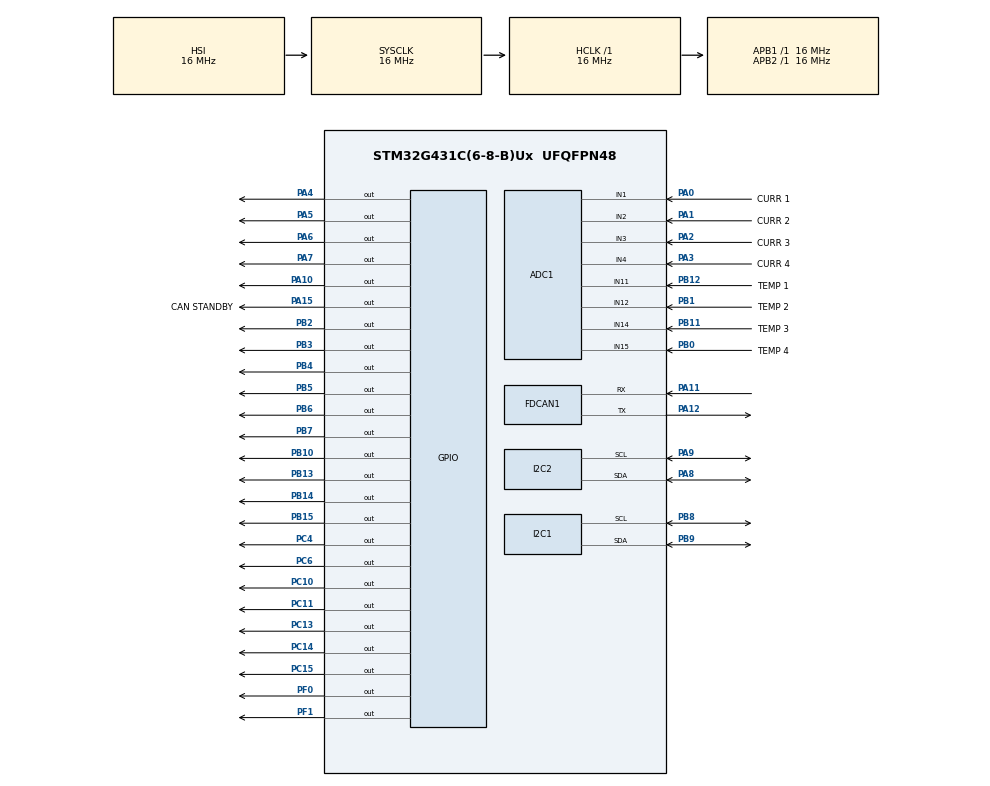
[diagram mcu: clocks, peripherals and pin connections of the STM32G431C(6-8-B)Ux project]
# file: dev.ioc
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ADC1.Channel-0\#ChannelRegularConversion=ADC_CHANNEL_1
ADC1.Channel-10\#ChannelRegularConversion=ADC_CHANNEL_4
ADC1.Channel-11\#ChannelRegularConversion=ADC_CHANNEL_11
ADC1.Channel-12\#ChannelRegularConversion=ADC_CHANNEL_12
ADC1.Channel-13\#ChannelRegularConversion=ADC_CHANNEL_14
ADC1.Channel-14\#ChannelRegularConversion=ADC_CHANNEL_15
ADC1.Channel-8\#ChannelRegularConversion=ADC_CHANNEL_2
ADC1.Channel-9\#ChannelRegularConversion=ADC_CHANNEL_3
ADC1.DMAContinuousRequests=DISABLE
ADC1.DiscontinuousConvMode=DISABLE
ADC1.EOCSelection=ADC_EOC_SINGLE_CONV
ADC1.NbrOfConversion=8
ADC1.NbrOfConversionFlag=1
ADC1.OffsetNumber-0\#ChannelRegularConversion=ADC_OFFSET_NONE
ADC1.OffsetNumber-10\#ChannelRegularConversion=ADC_OFFSET_NONE
ADC1.OffsetNumber-11\#ChannelRegularConversion=ADC_OFFSET_NONE
ADC1.OffsetNumber-12\#ChannelRegularConversion=ADC_OFFSET_NONE
ADC1.OffsetNumber-13\#ChannelRegularConversion=ADC_OFFSET_NONE
ADC1.OffsetNumber-14\#ChannelRegularConversion=ADC_OFFSET_NONE
ADC1.OffsetNumber-8\#ChannelRegularConversion=ADC_OFFSET_NONE
ADC1.OffsetNumber-9\#ChannelRegularConversion=ADC_OFFSET_NONE
ADC1.Rank-0\#ChannelRegularConversion=1
ADC1.Rank-10\#ChannelRegularConversion=4
ADC1.Rank-11\#ChannelRegularConversion=5
ADC1.Rank-12\#ChannelRegularConversion=6
ADC1.Rank-13\#ChannelRegularConversion=7
ADC1.Rank-14\#ChannelRegularConversion=8
ADC1.Rank-8\#ChannelRegularConversion=2
ADC1.Rank-9\#ChannelRegularConversion=3
ADC1.SamplingTime-0\#ChannelRegularConversion=ADC_SAMPLETIME_2CYCLES_5
ADC1.SamplingTime-10\#ChannelRegularConversion=ADC_SAMPLETIME_2CYCLES_5
ADC1.SamplingTime-11\#ChannelRegularConversion=ADC_SAMPLETIME_2CYCLES_5
ADC1.SamplingTime-12\#ChannelRegularConversion=ADC_SAMPLETIME_2CYCLES_5
ADC1.SamplingTime-13\#ChannelRegularConversion=ADC_SAMPLETIME_2CYCLES_5
ADC1.SamplingTime-14\#ChannelRegularConversion=ADC_SAMPLETIME_2CYCLES_5
ADC1.SamplingTime-8\#ChannelRegularConversion=ADC_SAMPLETIME_2CYCLES_5
ADC1.SamplingTime-9\#ChannelRegularConversion=ADC_SAMPLETIME_2CYCLES_5
ADC1.master=1
Dma.ADC1.0.Direction=DMA_PERIPH_TO_MEMORY
Dma.ADC1.0.EventEnable=DISABLE
Dma.ADC1.0.Instance=DMA1_Channel1
Dma.ADC1.0.MemDataAlignment=DMA_MDATAALIGN_HALFWORD
Dma.ADC1.0.MemInc=DMA_MINC_ENABLE
Dma.ADC1.0.Mode=DMA_NORMAL
Dma.ADC1.0.PeriphDataAlignment=DMA_PDATAALIGN_HALFWORD
Dma.ADC1.0.PeriphInc=DMA_PINC_DISABLE
Dma.ADC1.0.Polarity=HAL_DMAMUX_REQ_GEN_RISING
Dma.ADC1.0.Priority=DMA_PRIORITY_LOW
Dma.ADC1.0.RequestNumber=1
Dma.ADC1.0.SignalID=NONE
Dma.ADC1.0.SyncEnable=DISABLE
Dma.ADC1.0.SyncPolarity=HAL_DMAMUX_SYNC_NO_EVENT
Dma.ADC1.0.SyncRequestNumber=1
Dma.ADC1.0.SyncSignalID=NONE
Dma.Request0=ADC1
FDCAN1.CalculateBaudRateNominal=200000
FDCAN1.CalculateTimeBitNominal=5000
FDCAN1.CalculateTimeQuantumNominal=1000.0
Mcu.Family=STM32G4
Mcu.Name=STM32G431C(6-8-B)Ux
Mcu.Package=UFQFPN48
NVIC.DMA1_Channel1_IRQn=true\:0\:0\:false\:false\:true\:false\:true\:true
NVIC.PriorityGroup=NVIC_PRIORITYGROUP_4
PA0.GPIO_Label=CURR 1
PA0.Mode=IN1-Single-Ended
PA0.Signal=ADC1_IN1
PA1.GPIO_Label=CURR 2
PA1.Mode=IN2-Single-Ended
PA1.Signal=ADC1_IN2
PA10.Signal=GPIO_Output
PA11.Mode=FDCAN_Activate
PA11.Signal=FDCAN1_RX
PA12.Mode=FDCAN_Activate
PA12.Signal=FDCAN1_TX
PA13.Mode=Serial_Wire
PA13.Signal=SYS_JTMS-SWDIO
PA14.Mode=Serial_Wire
PA14.Signal=SYS_JTCK-SWCLK
PA15.GPIO_Label=CAN STANDBY
PA15.Signal=GPIO_Output
PA2.GPIO_Label=CURR 3
PA2.Mode=IN3-Single-Ended
PA2.Signal=ADC1_IN3
PA3.GPIO_Label=CURR 4
PA3.Mode=IN4-Single-Ended
PA3.Signal=ADC1_IN4
PA4.Signal=GPIO_Output
PA5.Signal=GPIO_Output
PA6.Signal=GPIO_Output
PA7.Signal=GPIO_Output
PA8.Mode=I2C
PA8.Signal=I2C2_SDA
PA9.Mode=I2C
PA9.Signal=I2C2_SCL
PB0.GPIO_Label=TEMP 4
PB0.Mode=IN15-Single-Ended
PB0.Signal=ADC1_IN15
PB1.GPIO_Label=TEMP 2
PB1.Mode=IN12-Single-Ended
PB1.Signal=ADC1_IN12
PB10.Signal=GPIO_Output
PB11.GPIO_Label=TEMP 3
PB11.Mode=IN14-Single-Ended
PB11.Signal=ADC1_IN14
PB12.GPIO_Label=TEMP 1
PB12.Mode=IN11-Single-Ended
PB12.Signal=ADC1_IN11
PB13.Signal=GPIO_Output
PB14.Signal=GPIO_Output
PB15.Signal=GPIO_Output
PB2.Signal=GPIO_Output
PB3.Signal=GPIO_Output
PB4.Signal=GPIO_Output
PB5.Signal=GPIO_Output
PB6.Signal=GPIO_Output
PB7.Signal=GPIO_Output
PB8-BOOT0.Mode=I2C
PB8-BOOT0.Signal=I2C1_SCL
PB9.Mode=I2C
PB9.Signal=I2C1_SDA
PC10.Signal=GPIO_Output
PC11.Signal=GPIO_Output
PC13.Signal=GPIO_Output
PC14-OSC32_IN.Signal=GPIO_Output
PC15-OSC32_OUT.Signal=GPIO_Output
PC4.Signal=GPIO_Output
PC6.Signal=GPIO_Output
PF0-OSC_IN.Signal=GPIO_Output
PF1-OSC_OUT.Signal=GPIO_Output
ProjectManager.HeapSize=0x200
ProjectManager.StackSize=0x400
ProjectManager.TargetToolchain=STM32CubeIDE
RCC.AHBFreq_Value=16000000
RCC.APB1Freq_Value=16000000
RCC.APB1TimFreq_Value=16000000
RCC.APB2Freq_Value=16000000
RCC.APB2TimFreq_Value=16000000
RCC.CortexFreq_Value=16000000
RCC.EXTERNAL_CLOCK_VALUE=12288000
RCC.HCLKFreq_Value=16000000
RCC.HSE_VALUE=8000000
RCC.HSI48_VALUE=48000000
RCC.HSI_VALUE=16000000
RCC.LSE_VALUE=32768
RCC.SYSCLKFreq_VALUE=16000000
RCC.USBFreq_Value=64000000
RCC.VCOOutputFreq_Value=128000000
board=custom

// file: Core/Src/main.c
/* USER CODE BEGIN Header */
/**
  ******************************************************************************
  * @file           : main.c
  * @brief          : Main program body
  ******************************************************************************
  * @attention
  *
  * Copyright (c) 2023 STMicroelectronics.
  * All rights reserved.
  *
  * This software is licensed under terms that can be found in the LICENSE file
  * in the root directory of this software component.
  * If no LICENSE file comes with this software, it is provided AS-IS.
  *
  ******************************************************************************
  */
/* USER CODE END Header */
#include "main.h"

/* USER CODE BEGIN Includes */

#include "diag_curr_sensor.h"
#include "diag_temp_sensor.h"

/* USER CODE END Includes */

/* USER CODE BEGIN PD */
#define NUM_CHANNELS 8
#define NUM_CURRENT_SENSORS 4
#define NUM_TEMP_SENSORS 4

/* USER CODE END PD */

ADC_HandleTypeDef hadc1;
DMA_HandleTypeDef hdma_adc1;

FDCAN_HandleTypeDef hfdcan1;

I2C_HandleTypeDef hi2c1;
I2C_HandleTypeDef hi2c2;

/* USER CODE BEGIN PV */
FDCAN_TxHeaderTypeDef TxHeader;
FDCAN_RxHeaderTypeDef RxHeader;
uint8_t TxData[12];
uint8_t RxData[12];
uint8_t indx = 0;

void HAL_FDCAN_RxFifo0Callback(FDCAN_HandleTypeDef *hfdcan, uint32_t RxFifo0ITs)
{
  if((RxFifo0ITs & FDCAN_IT_RX_FIFO0_NEW_MESSAGE) != RESET)
  {
    /* Retreive Rx messages from RX FIFO0 */
    if (HAL_FDCAN_GetRxMessage(hfdcan, FDCAN_RX_FIFO0, &RxHeader, RxData) != HAL_OK)
    {
    /* Reception Error */
    Error_Handler();
    }
    if (HAL_FDCAN_ActivateNotification(hfdcan, FDCAN_IT_RX_FIFO0_NEW_MESSAGE, 0) != HAL_OK)
    {
      /* Notification Error */
      Error_Handler();
    }
  }
}

ADCSensor* adc;
DiagCurrentSensor* current_sensors[NUM_CURRENT_SENSORS];
DiagTempSensor* temp_sensors[NUM_TEMP_SENSORS];
float currents[NUM_CURRENT_SENSORS];
float temps[NUM_TEMP_SENSORS];

/* USER CODE END PV */

void SystemClock_Config(void);
static void MX_GPIO_Init(void);
static void MX_DMA_Init(void);
static void MX_ADC1_Init(void);
static void MX_FDCAN1_Init(void);
static void MX_I2C1_Init(void);
static void MX_I2C2_Init(void);

int main(void)
{

  /* MCU Configuration--------------------------------------------------------*/

  /* Reset of all peripherals, Initializes the Flash interface and the Systick. */
  HAL_Init();

  /* Configure the system clock */
  SystemClock_Config();

  /* Initialize all configured peripherals */
  MX_GPIO_Init();
  MX_DMA_Init();
  MX_ADC1_Init();
  MX_FDCAN1_Init();
  MX_I2C1_Init();
  MX_I2C2_Init();
  /* USER CODE BEGIN 2 */
  if (HAL_FDCAN_Start(&hfdcan1) != HAL_OK) {
  	  Error_Handler();
    }
    if (HAL_FDCAN_ActivateNotification(&hfdcan1, FDCAN_IT_RX_FIFO0_NEW_MESSAGE, 0) != HAL_OK) {
  	  /* Notification Error */
  	  Error_Handler();
    }

    TxHeader.Identifier = 0x11;
    TxHeader.IdType = FDCAN_STANDARD_ID;
    TxHeader.TxFrameType = FDCAN_DATA_FRAME;
    TxHeader.DataLength = FDCAN_DLC_BYTES_12;
    TxHeader.ErrorStateIndicator = FDCAN_ESI_ACTIVE;
    TxHeader.BitRateSwitch = FDCAN_BRS_OFF;
    TxHeader.FDFormat = FDCAN_FD_CAN;
    TxHeader.TxEventFifoControl = FDCAN_NO_TX_EVENTS;
    TxHeader.MessageMarker = 0;

    // 8 channels: 4 for current, 4 for temperature
      // Channels 0-3: CURR 1-4
      // Channels 4-7: TEMP 1-4

      adc = new_adc_sensor(&hadc1, NUM_CHANNELS);

      // Create current sensor objects (test_ADC channels 0-3)
      for(int i = 0; i < NUM_CURRENT_SENSORS; ++i) {
    	  current_sensors[i] = new_diag_current_sensor(adc, i);
      }

      // Create temp sensor objects (test_ADC channels 4-7)
      for(int i = 0; i < NUM_TEMP_SENSORS; ++i) {
    	  temp_sensors[i] = new_diag_temp_sensor(adc, i + NUM_CURRENT_SENSORS);
      }
  /* USER CODE END 2 */

  /* Infinite loop */
  while (1)
  {

    /* USER CODE BEGIN 3 */
	  // Update ADC values every loop
	  update_adc_sensor_values(adc);

	  // TODO: Maybe we can make this into interrupts, update every interval of X
	  // Rather than doing polling like this (but this is okay for testing)
	  for(int i = 0; i < NUM_CURRENT_SENSORS; ++i) {
		  update_diag_current_sensor_val(current_sensors[i]);
		  currents[i] = get_diag_current_sensor_val(current_sensors[i]);
	  }

	  for(int i = 0; i < NUM_TEMP_SENSORS; ++i) {
		  update_diag_temp_sensor_val(temp_sensors[i]);
		  temps[i] = get_diag_temp_sensor_val(temp_sensors[i]);
	  }
  }
  /* USER CODE END 3 */
}

void SystemClock_Config(void)
{
  RCC_OscInitTypeDef RCC_OscInitStruct = {0};
  RCC_ClkInitTypeDef RCC_ClkInitStruct = {0};

  /** Configure the main internal regulator output voltage
  */
  HAL_PWREx_ControlVoltageScaling(PWR_REGULATOR_VOLTAGE_SCALE1);

  /** Initializes the RCC Oscillators according to the specified parameters
  * in the RCC_OscInitTypeDef structure.
  */
  RCC_OscInitStruct.OscillatorType = RCC_OSCILLATORTYPE_HSI;
  RCC_OscInitStruct.HSIState = RCC_HSI_ON;
  RCC_OscInitStruct.HSICalibrationValue = RCC_HSICALIBRATION_DEFAULT;
  RCC_OscInitStruct.PLL.PLLState = RCC_PLL_NONE;
  if (HAL_RCC_OscConfig(&RCC_OscInitStruct) != HAL_OK)
  {
    Error_Handler();
  }

  /** Initializes the CPU, AHB and APB buses clocks
  */
  RCC_ClkInitStruct.ClockType = RCC_CLOCKTYPE_HCLK|RCC_CLOCKTYPE_SYSCLK
                              |RCC_CLOCKTYPE_PCLK1|RCC_CLOCKTYPE_PCLK2;
  RCC_ClkInitStruct.SYSCLKSource = RCC_SYSCLKSOURCE_HSI;
  RCC_ClkInitStruct.AHBCLKDivider = RCC_SYSCLK_DIV1;
  RCC_ClkInitStruct.APB1CLKDivider = RCC_HCLK_DIV1;
  RCC_ClkInitStruct.APB2CLKDivider = RCC_HCLK_DIV1;

  if (HAL_RCC_ClockConfig(&RCC_ClkInitStruct, FLASH_LATENCY_0) != HAL_OK)
  {
    Error_Handler();
  }
}

static void MX_ADC1_Init(void)
{

  ADC_MultiModeTypeDef multimode = {0};
  ADC_ChannelConfTypeDef sConfig = {0};

  /** Common config
  */
  hadc1.Instance = ADC1;
  hadc1.Init.ClockPrescaler = ADC_CLOCK_SYNC_PCLK_DIV2;
  hadc1.Init.Resolution = ADC_RESOLUTION_12B;
  hadc1.Init.DataAlign = ADC_DATAALIGN_RIGHT;
  hadc1.Init.GainCompensation = 0;
  hadc1.Init.ScanConvMode = ADC_SCAN_ENABLE;
  hadc1.Init.EOCSelection = ADC_EOC_SINGLE_CONV;
  hadc1.Init.LowPowerAutoWait = DISABLE;
  hadc1.Init.ContinuousConvMode = DISABLE;
  hadc1.Init.NbrOfConversion = 8;
  hadc1.Init.DiscontinuousConvMode = DISABLE;
  hadc1.Init.ExternalTrigConv = ADC_SOFTWARE_START;
  hadc1.Init.ExternalTrigConvEdge = ADC_EXTERNALTRIGCONVEDGE_NONE;
  hadc1.Init.DMAContinuousRequests = DISABLE;
  hadc1.Init.Overrun = ADC_OVR_DATA_PRESERVED;
  hadc1.Init.OversamplingMode = DISABLE;
  if (HAL_ADC_Init(&hadc1) != HAL_OK)
  {
    Error_Handler();
  }

  /** Configure the ADC multi-mode
  */
  multimode.Mode = ADC_MODE_INDEPENDENT;
  if (HAL_ADCEx_MultiModeConfigChannel(&hadc1, &multimode) != HAL_OK)
  {
    Error_Handler();
  }

  /** Configure Regular Channel
  */
  sConfig.Channel = ADC_CHANNEL_1;
  sConfig.Rank = ADC_REGULAR_RANK_1;
  sConfig.SamplingTime = ADC_SAMPLETIME_2CYCLES_5;
  sConfig.SingleDiff = ADC_SINGLE_ENDED;
  sConfig.OffsetNumber = ADC_OFFSET_NONE;
  sConfig.Offset = 0;
  if (HAL_ADC_ConfigChannel(&hadc1, &sConfig) != HAL_OK)
  {
    Error_Handler();
  }

  /** Configure Regular Channel
  */
  sConfig.Channel = ADC_CHANNEL_2;
  sConfig.Rank = ADC_REGULAR_RANK_2;
  if (HAL_ADC_ConfigChannel(&hadc1, &sConfig) != HAL_OK)
  {
    Error_Handler();
  }

  /** Configure Regular Channel
  */
  sConfig.Channel = ADC_CHANNEL_3;
  sConfig.Rank = ADC_REGULAR_RANK_3;
  if (HAL_ADC_ConfigChannel(&hadc1, &sConfig) != HAL_OK)
  {
    Error_Handler();
  }

  /** Configure Regular Channel
  */
  sConfig.Channel = ADC_CHANNEL_4;
  sConfig.Rank = ADC_REGULAR_RANK_4;
  if (HAL_ADC_ConfigChannel(&hadc1, &sConfig) != HAL_OK)
  {
    Error_Handler();
  }

  /** Configure Regular Channel
  */
  sConfig.Channel = ADC_CHANNEL_11;
  sConfig.Rank = ADC_REGULAR_RANK_5;
  if (HAL_ADC_ConfigChannel(&hadc1, &sConfig) != HAL_OK)
  {
    Error_Handler();
  }

  /** Configure Regular Channel
  */
  sConfig.Channel = ADC_CHANNEL_12;
  sConfig.Rank = ADC_REGULAR_RANK_6;
  if (HAL_ADC_ConfigChannel(&hadc1, &sConfig) != HAL_OK)
  {
    Error_Handler();
  }

  /** Configure Regular Channel
  */
  sConfig.Channel = ADC_CHANNEL_14;
  sConfig.Rank = ADC_REGULAR_RANK_7;
  if (HAL_ADC_ConfigChannel(&hadc1, &sConfig) != HAL_OK)
  {
    Error_Handler();
  }

  /** Configure Regular Channel
  */
  sConfig.Channel = ADC_CHANNEL_15;
  sConfig.Rank = ADC_REGULAR_RANK_8;
  if (HAL_ADC_ConfigChannel(&hadc1, &sConfig) != HAL_OK)
  {
    Error_Handler();
  }

}

static void MX_FDCAN1_Init(void)
{

  hfdcan1.Instance = FDCAN1;
  hfdcan1.Init.ClockDivider = FDCAN_CLOCK_DIV1;
  hfdcan1.Init.FrameFormat = FDCAN_FRAME_CLASSIC;
  hfdcan1.Init.Mode = FDCAN_MODE_NORMAL;
  hfdcan1.Init.AutoRetransmission = DISABLE;
  hfdcan1.Init.TransmitPause = DISABLE;
  hfdcan1.Init.ProtocolException = DISABLE;
  hfdcan1.Init.NominalPrescaler = 16;
  hfdcan1.Init.NominalSyncJumpWidth = 1;
  hfdcan1.Init.NominalTimeSeg1 = 2;
  hfdcan1.Init.NominalTimeSeg2 = 2;
  hfdcan1.Init.DataPrescaler = 1;
  hfdcan1.Init.DataSyncJumpWidth = 1;
  hfdcan1.Init.DataTimeSeg1 = 1;
  hfdcan1.Init.DataTimeSeg2 = 1;
  hfdcan1.Init.StdFiltersNbr = 0;
  hfdcan1.Init.ExtFiltersNbr = 0;
  hfdcan1.Init.TxFifoQueueMode = FDCAN_TX_FIFO_OPERATION;
  if (HAL_FDCAN_Init(&hfdcan1) != HAL_OK)
  {
    Error_Handler();
  }

}

static void MX_I2C1_Init(void)
{

  hi2c1.Instance = I2C1;
  hi2c1.Init.Timing = 0x00303D5B;
  hi2c1.Init.OwnAddress1 = 0;
  hi2c1.Init.AddressingMode = I2C_ADDRESSINGMODE_7BIT;
  hi2c1.Init.DualAddressMode = I2C_DUALADDRESS_DISABLE;
  hi2c1.Init.OwnAddress2 = 0;
  hi2c1.Init.OwnAddress2Masks = I2C_OA2_NOMASK;
  hi2c1.Init.GeneralCallMode = I2C_GENERALCALL_DISABLE;
  hi2c1.Init.NoStretchMode = I2C_NOSTRETCH_DISABLE;
  if (HAL_I2C_Init(&hi2c1) != HAL_OK)
  {
    Error_Handler();
  }

  /** Configure Analogue filter
  */
  if (HAL_I2CEx_ConfigAnalogFilter(&hi2c1, I2C_ANALOGFILTER_ENABLE) != HAL_OK)
  {
    Error_Handler();
  }

  /** Configure Digital filter
  */
  if (HAL_I2CEx_ConfigDigitalFilter(&hi2c1, 0) != HAL_OK)
  {
    Error_Handler();
  }

}

static void MX_I2C2_Init(void)
{

  hi2c2.Instance = I2C2;
  hi2c2.Init.Timing = 0x00303D5B;
  hi2c2.Init.OwnAddress1 = 0;
  hi2c2.Init.AddressingMode = I2C_ADDRESSINGMODE_7BIT;
  hi2c2.Init.DualAddressMode = I2C_DUALADDRESS_DISABLE;
  hi2c2.Init.OwnAddress2 = 0;
  hi2c2.Init.OwnAddress2Masks = I2C_OA2_NOMASK;
  hi2c2.Init.GeneralCallMode = I2C_GENERALCALL_DISABLE;
  hi2c2.Init.NoStretchMode = I2C_NOSTRETCH_DISABLE;
  if (HAL_I2C_Init(&hi2c2) != HAL_OK)
  {
    Error_Handler();
  }

  /** Configure Analogue filter
  */
  if (HAL_I2CEx_ConfigAnalogFilter(&hi2c2, I2C_ANALOGFILTER_ENABLE) != HAL_OK)
  {
    Error_Handler();
  }

  /** Configure Digital filter
  */
  if (HAL_I2CEx_ConfigDigitalFilter(&hi2c2, 0) != HAL_OK)
  {
    Error_Handler();
  }

}

static void MX_DMA_Init(void)
{

  /* DMA controller clock enable */
  __HAL_RCC_DMAMUX1_CLK_ENABLE();
  __HAL_RCC_DMA1_CLK_ENABLE();

  /* DMA interrupt init */
  /* DMA1_Channel1_IRQn interrupt configuration */
  HAL_NVIC_SetPriority(DMA1_Channel1_IRQn, 0, 0);
  HAL_NVIC_EnableIRQ(DMA1_Channel1_IRQn);

}

static void MX_GPIO_Init(void)
{
  GPIO_InitTypeDef GPIO_InitStruct = {0};

  /* GPIO Ports Clock Enable */
  __HAL_RCC_GPIOC_CLK_ENABLE();
  __HAL_RCC_GPIOF_CLK_ENABLE();
  __HAL_RCC_GPIOA_CLK_ENABLE();
  __HAL_RCC_GPIOB_CLK_ENABLE();

  /*Configure GPIO pin Output Level */
  HAL_GPIO_WritePin(GPIOC, GPIO_PIN_13|GPIO_PIN_14|GPIO_PIN_15|GPIO_PIN_4
                          |GPIO_PIN_6|GPIO_PIN_10|GPIO_PIN_11, GPIO_PIN_RESET);

  /*Configure GPIO pin Output Level */
  HAL_GPIO_WritePin(GPIOF, GPIO_PIN_0|GPIO_PIN_1, GPIO_PIN_RESET);

  /*Configure GPIO pin Output Level */
  HAL_GPIO_WritePin(GPIOA, GPIO_PIN_4|GPIO_PIN_5|GPIO_PIN_6|GPIO_PIN_7
                          |GPIO_PIN_10|CAN_STANDBY_Pin, GPIO_PIN_RESET);

  /*Configure GPIO pin Output Level */
  HAL_GPIO_WritePin(GPIOB, GPIO_PIN_2|GPIO_PIN_10|GPIO_PIN_13|GPIO_PIN_14
                          |GPIO_PIN_15|GPIO_PIN_3|GPIO_PIN_4|GPIO_PIN_5
                          |GPIO_PIN_6|GPIO_PIN_7, GPIO_PIN_RESET);

  /*Configure GPIO pins : PC13 PC14 PC15 PC4
                           PC6 PC10 PC11 */
  GPIO_InitStruct.Pin = GPIO_PIN_13|GPIO_PIN_14|GPIO_PIN_15|GPIO_PIN_4
                          |GPIO_PIN_6|GPIO_PIN_10|GPIO_PIN_11;
  GPIO_InitStruct.Mode = GPIO_MODE_OUTPUT_PP;
  GPIO_InitStruct.Pull = GPIO_NOPULL;
  GPIO_InitStruct.Speed = GPIO_SPEED_FREQ_LOW;
  HAL_GPIO_Init(GPIOC, &GPIO_InitStruct);

  /*Configure GPIO pins : PF0 PF1 */
  GPIO_InitStruct.Pin = GPIO_PIN_0|GPIO_PIN_1;
  GPIO_InitStruct.Mode = GPIO_MODE_OUTPUT_PP;
  GPIO_InitStruct.Pull = GPIO_NOPULL;
  GPIO_InitStruct.Speed = GPIO_SPEED_FREQ_LOW;
  HAL_GPIO_Init(GPIOF, &GPIO_InitStruct);

  /*Configure GPIO pins : PA4 PA5 PA6 PA7
                           PA10 CAN_STANDBY_Pin */
  GPIO_InitStruct.Pin = GPIO_PIN_4|GPIO_PIN_5|GPIO_PIN_6|GPIO_PIN_7
                          |GPIO_PIN_10|CAN_STANDBY_Pin;
  GPIO_InitStruct.Mode = GPIO_MODE_OUTPUT_PP;
  GPIO_InitStruct.Pull = GPIO_NOPULL;
  GPIO_InitStruct.Speed = GPIO_SPEED_FREQ_LOW;
  HAL_GPIO_Init(GPIOA, &GPIO_InitStruct);

  /*Configure GPIO pins : PB2 PB10 PB13 PB14
                           PB15 PB3 PB4 PB5
                           PB6 PB7 */
  GPIO_InitStruct.Pin = GPIO_PIN_2|GPIO_PIN_10|GPIO_PIN_13|GPIO_PIN_14
                          |GPIO_PIN_15|GPIO_PIN_3|GPIO_PIN_4|GPIO_PIN_5
                          |GPIO_PIN_6|GPIO_PIN_7;
  GPIO_InitStruct.Mode = GPIO_MODE_OUTPUT_PP;
  GPIO_InitStruct.Pull = GPIO_NOPULL;
  GPIO_InitStruct.Speed = GPIO_SPEED_FREQ_LOW;
  HAL_GPIO_Init(GPIOB, &GPIO_InitStruct);

}

void Error_Handler(void)
{
  __disable_irq();
  while (1)
  {
  }
}
